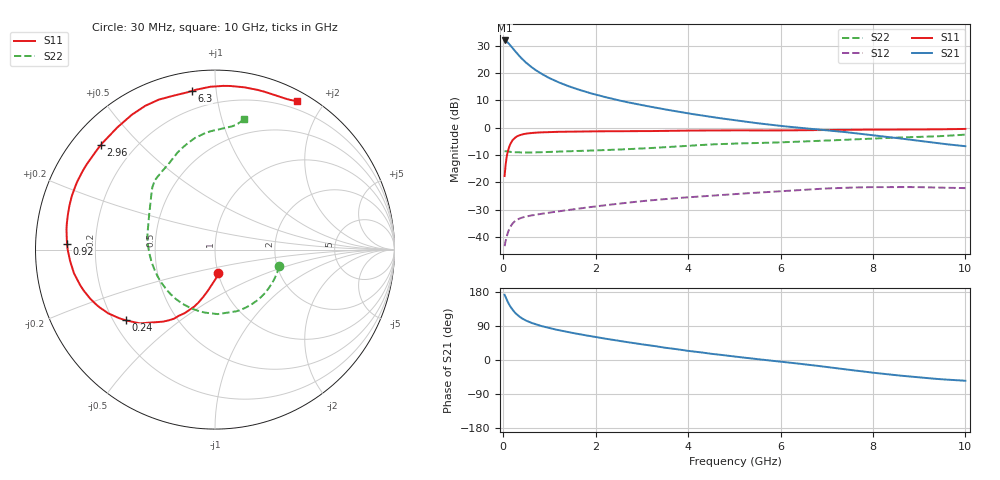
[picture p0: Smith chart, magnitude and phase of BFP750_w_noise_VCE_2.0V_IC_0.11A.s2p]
! Infineon Technologies  Discrete & RF Semiconductors
! BFP750
! VCE =  2.0 V,  IC = 0.11 A
! Common Emitter S-Parameters:  Jan 2016
# GHz  S  MA  R  50
!  f  S11  S21  S12  S22
! GHz  MAG  ANG  MAG  ANG  MAG  ANG  MAG  ANG
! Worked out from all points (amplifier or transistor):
!   229 points, 30 MHz to 10 GHz, reference 50 ohm
!   highest |S21| = 31.9 dB at 30 MHz (marker M1)
!   |S21| within 3 dB of that: start of sweep to 213.2 MHz
!   unconditionally stable (mu >= 1): start of sweep to 92.6 MHz; 1.754 GHz to end of sweep
!   at 280 MHz: K = 0.58, MSG = 30.7 dB, |S12| = -33.9 dB
!   at 1.78 GHz: K = 1.01, MAG = 20.7 dB, |S12| = -29.3 dB
!   at 10 GHz: K = 1.23, MAG = 4.8 dB, |S12| = -22.1 dB
!   lowest NFmin = 1.68 dB at 450 MHz
!   S11 on the Smith chart (normalised r, x): 30 MHz: 1.00, -0.26; 240 MHz: 0.25, -0.33; 920 MHz: 0.10, +0.02; 2.96 GHz: 0.08, +0.39; 6.3 GHz: 0.10, +0.86; 10 GHz: 0.11, +1.69
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0.03  0.1302 -81.9  39.2 172.1  0.0068 26.0  0.3671 -14.4
0.07  0.2744 -104.2  37.59 160.6  0.0098 38.3  0.3686 -35.8
0.1  0.3694 -113.3  35.78 152.9  0.012 40.7  0.3679 -50.2
0.12  0.4206 -118.7  34.41 148.2  0.0134 40.2  0.3666 -58.9
0.16  0.5111 -127.9  31.48 140.1  0.0156 38.6  0.3606 -74.1
0.2  0.5867 -135.5  28.62 132.6  0.0176 36.3  0.3597 -87.6
0.24  0.6344 -141.6  26.07 127.0  0.019 34.3  0.3554 -98.4
0.3  0.6932 -149.2  22.67 119.4  0.0207 31.9  0.3536 -112.1
0.36  0.7287 -155.1  19.92 113.7  0.0219 29.8  0.3514 -122.5
0.4  0.747 -158.5  18.35 110.2  0.0225 28.8  0.351 -128.4
0.5  0.7772 -165.3  15.25 103.6  0.0237 27.3  0.3504 -139.9
0.7  0.8082 -174.8  11.28 94.1  0.0255 26.1  0.3529 -154.9
0.92  0.8254 177.8  8.726 86.5  0.0273 26.4  0.3573 -165.5
1.24  0.839 169.3  6.518 77.7  0.0298 27.3  0.3653 -175.7
1.7  0.8517 159.5  4.752 67.0  0.0336 28.3  0.3769 174.1
2.96  0.8629 137.3  2.617 42.2  0.0448 26.3  0.4135 152.7
3.4  0.8686 130.2  2.231 34.5  0.0486 24.2  0.433 146.7
5.1  0.8909 109.5  1.334 7.7  0.0616 15.0  0.5136 129.8
6.3  0.8931 98.3  1.015 -8.3  0.0711 7.2  0.5495 116.9
6.8  0.9028 93.6  0.928 -15.4  0.0754 3.0  0.5707 112.7
8.4  0.9208 75.1  0.662 -38.7  0.0821 -12.7  0.6515 94.8
10  0.9458 61.0  0.457 -54.7  0.0783 -25.1  0.7439 77.3
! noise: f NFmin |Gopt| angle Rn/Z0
0.45  1.68  0.37  -170  0.29
0.9  1.71  0.46  -163  0.16
1.5  1.74  0.54  -154  0.1
1.9  1.74  0.56  -148  0.11
2.4  1.72  0.56  -141  0.15
3.5  2.05  0.56  -124  0.21
